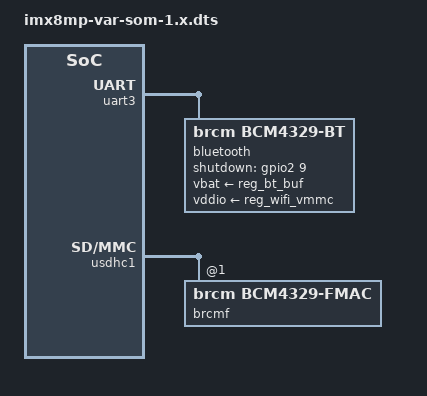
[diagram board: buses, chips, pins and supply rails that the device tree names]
// SPDX-License-Identifier: (GPL-2.0+ OR MIT)
/*
 * Device tree overlay to support the VAR-SOM-MX8M-PLUS 1.x
 *
 * Copyright 2023 Variscite Ltd.
 */

/dts-v1/;
/plugin/;

#include <dt-bindings/gpio/gpio.h>

&bluetooth_iw61x {
	status = "disabled";
};

&uart3 {
	bluetooth {
		compatible = "brcm,bcm4329-bt";
		pinctrl-names = "default";
		pinctrl-0 = <&pinctrl_bt_en>;
		clocks = <&osc_32k>;
		clock-names = "txco";
		max-speed = <3000000>;
		shutdown-gpios = <&gpio2 9 GPIO_ACTIVE_HIGH>;
		vbat-supply = <&reg_bt_buf>;
		vddio-supply = <&reg_wifi_vmmc>;
		brcm,bt-pcm-int-params = [01 00 00 00 00];
	};
};

/* WIFI */
&usdhc1 {
	brcmf: bcrmf@1 {
		reg = <1>;
		compatible = "brcm,bcm4329-fmac";
		laird,regdomain = "US";
	};
};
